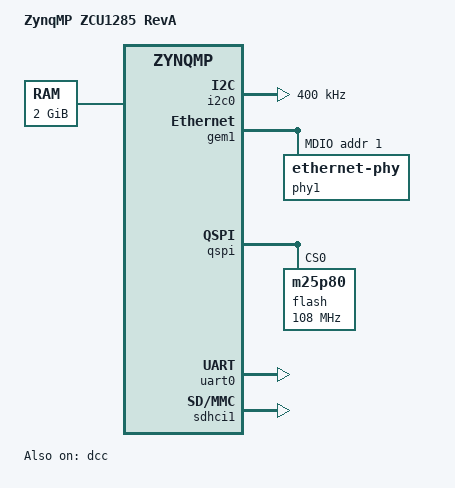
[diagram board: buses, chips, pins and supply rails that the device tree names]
// SPDX-License-Identifier: GPL-2.0
/*
 * dts file for Xilinx ZynqMP ZCU1285 RevA
 *
 * (C) Copyright 2018 - 2021, Xilinx, Inc.
 *
 * Michal Simek <michal.simek@amd.com>
 * Siva Durga Prasad Paladugu <siva.durga.prasad.paladugu@amd.com>
 */

/dts-v1/;

#include "zynqmp.dtsi"
#include "zynqmp-clk-ccf.dtsi"

/ {
	model = "ZynqMP ZCU1285 RevA";
	compatible = "xlnx,zynqmp-zcu1285-revA", "xlnx,zynqmp-zcu1285",
		     "xlnx,zynqmp";

	aliases {
		serial0 = &uart0;
		serial1 = &dcc;
		spi0 = &qspi;
		mmc0 = &sdhci1;
		ethernet0 = &gem1; /* EMIO */
		i2c = &i2c0; /* EMIO */
	};

	chosen {
		bootargs = "earlycon";
		stdout-path = "serial0:115200n8";
	};

	memory@0 {
		device_type = "memory";
		reg = <0x0 0x0 0x0 0x80000000>;
	};

};

&dcc {
	status = "okay";
};

&i2c0 {
	status = "okay";
	clock-frequency = <400000>;

};

&gem1 {
	mdio {
		#address-cells = <1>;
		#size-cells = <0>;
		phy1: ethernet-phy@1 {
			reg = <1>; /* KSZ9031RNXIC on AES-FMC-NETW1-G */
			rxc-skew-ps = <1800>; /* Skew control of RX_CLK pad output */
			txc-skew-ps = <1800>; /* Skew control of GTX_CLK pad input */
			txen-skew-ps = <900>; /* Skew control of TX_CTL pad input */
			rxdv-skew-ps = <0>; /* Skew control of RX_CTL pad output */
			rxd0-skew-ps = <0>; /* Skew control of RXD0 pad output */
			rxd1-skew-ps = <0>; /* Skew control of RXD1 pad output */
			rxd2-skew-ps = <0>; /* Skew control of RXD2 pad output */
			rxd3-skew-ps = <0>; /* Skew control of RXD3 pad output */
			txd0-skew-ps = <900>; /* Skew control of TXD0 pad input */
			txd1-skew-ps = <900>; /* Skew control of TXD1 pad input */
			txd2-skew-ps = <900>; /* Skew control of TXD2 pad input */
			txd3-skew-ps = <900>; /* Skew control of TXD3 pad input */
		};
	};
};

&gpio {
	status = "okay";
};

&qspi {
	status = "okay";
	flash@0 {
		compatible = "m25p80", "jedec,spi-nor"; /* 32MB */
		#address-cells = <1>;
		#size-cells = <1>;
		reg = <0x0>;
		spi-tx-bus-width = <1>;
		spi-rx-bus-width = <1>;
		spi-max-frequency = <108000000>; /* Based on DC1 spec */
	};
};

&uart0 {
	status = "okay";
};

&sdhci1 {
	status = "okay";
	/*
	 * This property should be removed for supporting UHS mode
	 */
	no-1-8-v;
	xlnx,mio-bank = <1>;
};
